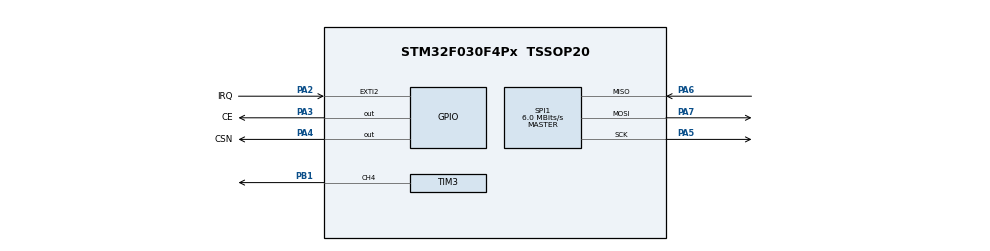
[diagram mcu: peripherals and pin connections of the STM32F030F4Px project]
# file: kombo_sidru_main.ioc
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Dma.Request0=TIM3_CH4/UP
Dma.TIM3_CH4/UP.0.Direction=DMA_MEMORY_TO_PERIPH
Dma.TIM3_CH4/UP.0.Instance=DMA1_Channel3
Dma.TIM3_CH4/UP.0.MemDataAlignment=DMA_MDATAALIGN_BYTE
Dma.TIM3_CH4/UP.0.MemInc=DMA_MINC_ENABLE
Dma.TIM3_CH4/UP.0.Mode=DMA_CIRCULAR
Dma.TIM3_CH4/UP.0.PeriphDataAlignment=DMA_PDATAALIGN_HALFWORD
Dma.TIM3_CH4/UP.0.PeriphInc=DMA_PINC_DISABLE
Dma.TIM3_CH4/UP.0.Priority=DMA_PRIORITY_VERY_HIGH
IWDG.Prescaler=IWDG_PRESCALER_32
Mcu.Family=STM32F0
Mcu.Name=STM32F030F4Px
Mcu.Package=TSSOP20
NVIC.DMA1_Channel2_3_IRQn=true\:0\:0\:false\:false\:true\:false\:true
NVIC.EXTI2_3_IRQn=true\:0\:0\:false\:false\:true\:true\:true
NVIC.TIM1_BRK_UP_TRG_COM_IRQn=true\:0\:0\:false\:false\:true\:true\:true
PA13.Mode=Serial_Wire
PA13.Signal=SYS_SWDIO
PA14.Mode=Serial_Wire
PA14.Signal=SYS_SWCLK
PA2.GPIO_Label=IRQ
PA2.Signal=GPXTI2
PA3.GPIO_Label=CE
PA3.Signal=GPIO_Output
PA4.GPIO_Label=CSN
PA4.Signal=GPIO_Output
PA5.Mode=Full_Duplex_Master
PA5.Signal=SPI1_SCK
PA6.Mode=Full_Duplex_Master
PA6.Signal=SPI1_MISO
PA7.Mode=Full_Duplex_Master
PA7.Signal=SPI1_MOSI
PB1.Signal=S_TIM3_CH4
PF0-OSC_IN.Mode=HSE-External-Oscillator
PF0-OSC_IN.Signal=RCC_OSC_IN
PF1-OSC_OUT.Mode=HSE-External-Oscillator
PF1-OSC_OUT.Signal=RCC_OSC_OUT
ProjectManager.HeapSize=0x200
ProjectManager.StackSize=0x400
ProjectManager.TargetToolchain=MDK-ARM V5.32
RCC.AHBFreq_Value=48000000
RCC.APB1Freq_Value=48000000
RCC.APB1TimFreq_Value=48000000
RCC.HCLKFreq_Value=48000000
RCC.PLLMUL=RCC_PLL_MUL6
RCC.PLLSourceVirtual=RCC_PLLSOURCE_HSE
RCC.SYSCLKFreq_VALUE=48000000
RCC.SYSCLKSource=RCC_SYSCLKSOURCE_PLLCLK
SH.S_TIM3_CH4.0=TIM3_CH4,PWM Generation4 CH4
SPI1.BaudRatePrescaler=SPI_BAUDRATEPRESCALER_8
SPI1.CalculateBaudRate=6.0 MBits/s
SPI1.DataSize=SPI_DATASIZE_8BIT
SPI1.Direction=SPI_DIRECTION_2LINES
SPI1.Mode=SPI_MODE_MASTER
SPI1.VirtualType=VM_MASTER
TIM1.Period=47999
TIM3.Channel-PWM\ Generation4\ CH4=TIM_CHANNEL_4
TIM3.Period=59
VP_IWDG_VS_IWDG.Mode=IWDG_Activate
VP_TIM1_VS_ClockSourceINT.Mode=Internal
board=custom

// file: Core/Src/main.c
/* USER CODE BEGIN Header */
/*
* main.c
* Основной файл программы контроллера светодиодов ws2812b
* СветоИзлучающего Декоративного Радиоуправляемого Устройства (СИДРУ)
* Проект "КомБО" (Открытые системы беспроводной коммуникации)
*
* Микроконтроллер:  stm32f030f4p6
* Приемопередатчик: nrf24l01+
*
* Подключение периферии:
* NRF24L01		STM32
* CE					PA3(9)
* CSN					PA4(10)
* SCK					PA5(11)
* MOSI				PA7(13)
* MISO				PA6(12)
* IRQ					PA2(8)
*
* WS2812			PB1(14)
*
*   Краткое описание работы устройства:
* При включении питания адресным светодиодам отправляется команда на зажжение
* белого цвета в течение 50 мс для проверки работоспособности.
* В процессе работы устройство отправляет запросы пульту управления и принимает
* от него команды включения/выключения, либо смены режима.
* При отсутствии команд устройство циклически отправляет команды на светодиоды
* в соответствии с текущим режимом.
*
* Алгоритм управления адресными светодиодами позаимствован с
* https://kawaii.computer/stm32/2020/06/07/ws2812b-stm32f0-circular-dma.html
* Для управления светодиодами используется DMA и ШИМ (таймер 3 канал 4)
*
* Примечания:
* - Проект сгенерирован в STM32CubeMX, структура проекта, основные настройки и инициализация периферии
*   созданы автоматически.
* - Для МК stm32f030f4p6 - без перемычки на BOOT (1) - старт в режиме загрузчика, можно подключиться
*   по USART и через SWD, с перемычкой - нормальная загрузка, можно подключиться только через SWD.
* - Алгоритм светового эффекта "радуга" позаимствован с репозитория:
* 	https://github.com/hubmartin/WS2812B_STM32F4/
*
*		Автор: Мелехин В.Н. (MelexinVN)
*/

/* USER CODE END Header */
#include "main.h"

/* USER CODE BEGIN PV */
//объявляем переменные и массивы
uint32_t millis = 0;				//милисекунды
uint32_t temp_millis = 0;		//вспомогательная переменная для организации пауз
uint32_t led_millis = 0;		//вспомогательная переменная для организации пауз
uint32_t pause_millis = 0;	//вспомогательная переменная для организации пауз
uint32_t led_pause = 10;		//значение паузы для светоэффектов

//внешние переменные и массивы
extern volatile uint8_t f_rx, f_tx;			//флаги приема и передачи радиомодуля
extern uint8_t tx_buf[TX_PLOAD_WIDTH];	//буфер передачи радиомодуля
extern uint8_t rx_buf[TX_PLOAD_WIDTH];	//буфер приема радиомодуля

extern uint32_t grb[LED_COUNT];					//массив состояния светодиодов
//Каждый элемент представляет собой значение GRB для соответствующего индекса светодиода,
//например, 0x00ffffff - полностью белый, 0x00ff0000 - полностью зеленый, и тд.

extern uint16_t grb_offset;							//смещение в массиве GRB при выводе светодиодов
extern uint8_t buffer[BUFFER_LEN];			//буфер

uint8_t led_mode = 0;										//режим световых эффектов
uint8_t save_mode = 1;									//сохраненное значение режима

uint8_t f_pause = 0;										//флаг включения паузы

/* USER CODE END PV */

void SystemClock_Config(void);
static void MX_GPIO_Init(void);
static void MX_DMA_Init(void);
static void MX_IWDG_Init(void);
static void MX_SPI1_Init(void);
static void MX_TIM1_Init(void);
static void MX_TIM3_Init(void);

/* USER CODE BEGIN 0 */

//Подпрограмма обработки прерываний от таймера 1
//происходит 1 раз в милисекунду
void TIM1_callback(void)
{
	//если флаг прерывания таймера поднят
	if(LL_TIM_IsActiveFlag_UPDATE(TIM1))
	{
		//считаем текущую милисекунду
		millis++;
		//опускаем флаг прерывания
		LL_TIM_ClearFlag_UPDATE(TIM1);
	}
}

//Процедура приема радиомодуля
void nrf24l01_receive(void)
{
	if(f_rx)	//если флаг приема поднят (флаг поднимается по внешнему прерыванию от радиомодуля)
	{
		if (rx_buf[0] == OUR_ADDR)	//если первый принятый байт совпадает с адресом устройства
		{
			if (rx_buf[1] == ON_OFF)	//если команда включения/выключения
			{
				if (led_mode == 0)			//если светодиоды отключены (нулевой режим)
				{
					led_mode = save_mode;	//включаем светодиоды в сохраненном режиме
				}
				else										//иначе
				{
					save_mode = led_mode;	//сохраняем значение текущего модуля
					led_mode = 0;					//выключаем светодиоды (устанавливаем нулевой режим)
				}
				f_pause = 1;						//поднимаем флаг паузы для предотвращения приема лишних команд
				pause_millis = millis;	//сохраняем текущее время
			}
			else if (rx_buf[1] == MODE_UP)	//если команда смены режима
			{
				if (led_mode)									//если устройство включено
				{
					if (led_mode < MODES_COUNT) led_mode++;	//если режим не крайний, присваиваем переменной следующее значение
					else led_mode = 1;											//если режим крайний, включаем первый режим
					f_pause = 1;														//поднимаем флаг паузы
					pause_millis = millis;									//сохраняем текущее время
				}
			}
		}
		f_rx = 0;										//опускаем флаг приема
	}
}
/* USER CODE END 0 */

int main(void)
{

  /* MCU Configuration--------------------------------------------------------*/

  /* Reset of all peripherals, Initializes the Flash interface and the Systick. */

  LL_APB1_GRP2_EnableClock(LL_APB1_GRP2_PERIPH_SYSCFG);
  LL_APB1_GRP1_EnableClock(LL_APB1_GRP1_PERIPH_PWR);

  /* System interrupt init*/
  /* SysTick_IRQn interrupt configuration */
  NVIC_SetPriority(SysTick_IRQn, 3);

  /* Configure the system clock */
  SystemClock_Config();

  /* Initialize all configured peripherals */
  MX_GPIO_Init();
  MX_DMA_Init();
  MX_IWDG_Init();
  MX_SPI1_Init();
  MX_TIM1_Init();
  MX_TIM3_Init();
  /* USER CODE BEGIN 2 */

	//Включаем SPI
	LL_SPI_Enable(SPI1);

	//Включаем внешнее прерывание
	LL_EXTI_EnableIT_0_31(LL_EXTI_LINE_2);
	LL_EXTI_EnableFallingTrig_0_31(LL_EXTI_LINE_2);

	//Конфигурируем таймер 1
	LL_TIM_EnableIT_UPDATE(TIM1);
	LL_TIM_EnableCounter(TIM1);

	//Конфигурируем таймер 3
	LL_TIM_CC_EnableChannel(TIM3, LL_TIM_CHANNEL_CH4);
	LL_TIM_EnableAllOutputs(TIM3);
	LL_TIM_EnableDMAReq_CC4(TIM3);
	LL_TIM_EnableCounter(TIM3);

	//Конфигурируем DMA
	LL_DMA_SetPeriphAddress(DMA1, LL_DMA_CHANNEL_3, (uint32_t)&TIM3->CCR4);
	LL_DMA_EnableIT_HT(DMA1, LL_DMA_CHANNEL_3);
  LL_DMA_EnableIT_TC(DMA1, LL_DMA_CHANNEL_3);

	//Инициализируем радиомодуль
	nrf24_init();

	//Моргаем светодиодами
	blink_leds();

  /* USER CODE END 2 */

  /* Infinite loop */
  /* USER CODE BEGIN WHILE */
  while (1)
  {
		//если прошло больше 50 мс
		if (millis-temp_millis > 50)
		{
			//отсылаем запрос
			tx_buf[0] = REMOTE_ADDR;	//заполняем поле адреса
			nrf24_send(tx_buf);				//отправляем посылку

			temp_millis = millis;			//сохраняем значение времени
		}
		//если режим 0 (выключено)
		if(led_mode == 0)
		{
			//заполняем буфер
			for(uint8_t i = 0; i < LED_COUNT; i++)
			{
				grb[i] = new_color(0, 0, 0);	//заполняем буфер нулевыми данными
			}
		}
		//далее в зависимости от режима заполняем массив соответсвующим образом
		else if(led_mode == 1)
		{
			//радуа
			rainbow(15);
		}
		//остальные режимы требуют некоторой паузы
		//если прошло времени больше паузы
		if (millis-led_millis > led_pause)
		{
			if (led_mode == 2)
			{
				//бегущий зеленый
				green_run();
			}

			else if (led_mode == 3)
			{
				//бегущий красный
				red_run();
			}

			else if (led_mode == 4)
			{
				//бегущий синий
				blue_run();
			}

			else if (led_mode == 5)
			{
				//бегущие красный и синий
				red_blue_run();
			}

			else if (led_mode == 6)
			{
				//бегущие красный и зеленый
				red_green_run();
			}

			else if (led_mode == 7)
			{
				//бегущие синий и зеленый
				blue_green_run();
			}

			if (led_mode == 8)
			{
				led_pause = 200;		//устанавливаем новое значение паузы
				//случайные цвета
				random_noise();
			}
			else led_pause = 10;	//возвращаем  значение паузы по умолчанию

			led_millis = millis;	//сохраняем значение времени
		}

		__disable_irq();				//отключаем все прерывания
		led_update();						//отправляем данные светодиодам
		__enable_irq();					//включаем все прерывания

		if (f_pause)						//если поднят флаг паузы
		{
			//если прошло достаточно времени
			if (millis-pause_millis > DELAY)
			{
				f_pause = 0;				//опускаем флаг паузы
			}
		}
		else										//если опущен флаг паузы
		{
			nrf24l01_receive();		//обрабатываем прием радиомодуля
		}

		//Далее алгоритм смены режимов ДЛЯ ДЕМОНСТРАЦИИ устройства
		//если решим не нулевой
		if (led_mode)
		{	//если прошло достаточно времени
			if (millis - pause_millis > DELAY*20)
			{
				if (led_mode < MODES_COUNT) led_mode++;	//если режим не крайний, присваиваем переменной следующее значение
				else led_mode = 1;											//если режим крайний, включаем первый режим
				pause_millis = millis;									//сохраняем значение времени
			}
		}

    /* USER CODE END WHILE */

    /* USER CODE BEGIN 3 */
		LL_IWDG_ReloadCounter(IWDG);//сбрасываем сторожевой таймер
  }
  /* USER CODE END 3 */
}

void SystemClock_Config(void)
{
  LL_FLASH_SetLatency(LL_FLASH_LATENCY_1);
  while(LL_FLASH_GetLatency() != LL_FLASH_LATENCY_1)
  {
  }
  LL_RCC_HSE_Enable();

   /* Wait till HSE is ready */
  while(LL_RCC_HSE_IsReady() != 1)
  {

  }
  LL_RCC_LSI_Enable();

   /* Wait till LSI is ready */
  while(LL_RCC_LSI_IsReady() != 1)
  {

  }
  LL_RCC_PLL_ConfigDomain_SYS(LL_RCC_PLLSOURCE_HSE_DIV_1, LL_RCC_PLL_MUL_6);
  LL_RCC_PLL_Enable();

   /* Wait till PLL is ready */
  while(LL_RCC_PLL_IsReady() != 1)
  {

  }
  LL_RCC_SetAHBPrescaler(LL_RCC_SYSCLK_DIV_1);
  LL_RCC_SetAPB1Prescaler(LL_RCC_APB1_DIV_1);
  LL_RCC_SetSysClkSource(LL_RCC_SYS_CLKSOURCE_PLL);

   /* Wait till System clock is ready */
  while(LL_RCC_GetSysClkSource() != LL_RCC_SYS_CLKSOURCE_STATUS_PLL)
  {

  }
  LL_Init1msTick(48000000);
  LL_SetSystemCoreClock(48000000);
  LL_RCC_SetUSARTClockSource(LL_RCC_USART1_CLKSOURCE_PCLK1);
}

static void MX_IWDG_Init(void)
{

  LL_IWDG_Enable(IWDG);
  LL_IWDG_EnableWriteAccess(IWDG);
  LL_IWDG_SetPrescaler(IWDG, LL_IWDG_PRESCALER_32);
  LL_IWDG_SetReloadCounter(IWDG, 4095);
  while (LL_IWDG_IsReady(IWDG) != 1)
  {
  }

  LL_IWDG_ReloadCounter(IWDG);

}

static void MX_SPI1_Init(void)
{

  LL_SPI_InitTypeDef SPI_InitStruct = {0};

  LL_GPIO_InitTypeDef GPIO_InitStruct = {0};

  /* Peripheral clock enable */
  LL_APB1_GRP2_EnableClock(LL_APB1_GRP2_PERIPH_SPI1);

  LL_AHB1_GRP1_EnableClock(LL_AHB1_GRP1_PERIPH_GPIOA);
  /**SPI1 GPIO Configuration
  PA5   ------> SPI1_SCK
  PA6   ------> SPI1_MISO
  PA7   ------> SPI1_MOSI
  */
  GPIO_InitStruct.Pin = LL_GPIO_PIN_5;
  GPIO_InitStruct.Mode = LL_GPIO_MODE_ALTERNATE;
  GPIO_InitStruct.Speed = LL_GPIO_SPEED_FREQ_HIGH;
  GPIO_InitStruct.OutputType = LL_GPIO_OUTPUT_PUSHPULL;
  GPIO_InitStruct.Pull = LL_GPIO_PULL_NO;
  GPIO_InitStruct.Alternate = LL_GPIO_AF_0;
  LL_GPIO_Init(GPIOA, &GPIO_InitStruct);

  GPIO_InitStruct.Pin = LL_GPIO_PIN_6;
  GPIO_InitStruct.Mode = LL_GPIO_MODE_ALTERNATE;
  GPIO_InitStruct.Speed = LL_GPIO_SPEED_FREQ_HIGH;
  GPIO_InitStruct.OutputType = LL_GPIO_OUTPUT_PUSHPULL;
  GPIO_InitStruct.Pull = LL_GPIO_PULL_NO;
  GPIO_InitStruct.Alternate = LL_GPIO_AF_0;
  LL_GPIO_Init(GPIOA, &GPIO_InitStruct);

  GPIO_InitStruct.Pin = LL_GPIO_PIN_7;
  GPIO_InitStruct.Mode = LL_GPIO_MODE_ALTERNATE;
  GPIO_InitStruct.Speed = LL_GPIO_SPEED_FREQ_HIGH;
  GPIO_InitStruct.OutputType = LL_GPIO_OUTPUT_PUSHPULL;
  GPIO_InitStruct.Pull = LL_GPIO_PULL_NO;
  GPIO_InitStruct.Alternate = LL_GPIO_AF_0;
  LL_GPIO_Init(GPIOA, &GPIO_InitStruct);

  /* SPI1 parameter configuration*/
  SPI_InitStruct.TransferDirection = LL_SPI_FULL_DUPLEX;
  SPI_InitStruct.Mode = LL_SPI_MODE_MASTER;
  SPI_InitStruct.DataWidth = LL_SPI_DATAWIDTH_8BIT;
  SPI_InitStruct.ClockPolarity = LL_SPI_POLARITY_LOW;
  SPI_InitStruct.ClockPhase = LL_SPI_PHASE_1EDGE;
  SPI_InitStruct.NSS = LL_SPI_NSS_SOFT;
  SPI_InitStruct.BaudRate = LL_SPI_BAUDRATEPRESCALER_DIV8;
  SPI_InitStruct.BitOrder = LL_SPI_MSB_FIRST;
  SPI_InitStruct.CRCCalculation = LL_SPI_CRCCALCULATION_DISABLE;
  SPI_InitStruct.CRCPoly = 7;
  LL_SPI_Init(SPI1, &SPI_InitStruct);
  LL_SPI_SetStandard(SPI1, LL_SPI_PROTOCOL_MOTOROLA);
  LL_SPI_EnableNSSPulseMgt(SPI1);

}

static void MX_TIM1_Init(void)
{

  LL_TIM_InitTypeDef TIM_InitStruct = {0};

  /* Peripheral clock enable */
  LL_APB1_GRP2_EnableClock(LL_APB1_GRP2_PERIPH_TIM1);

  /* TIM1 interrupt Init */
  NVIC_SetPriority(TIM1_BRK_UP_TRG_COM_IRQn, 0);
  NVIC_EnableIRQ(TIM1_BRK_UP_TRG_COM_IRQn);

  TIM_InitStruct.Prescaler = 0;
  TIM_InitStruct.CounterMode = LL_TIM_COUNTERMODE_UP;
  TIM_InitStruct.Autoreload = 47999;
  TIM_InitStruct.ClockDivision = LL_TIM_CLOCKDIVISION_DIV1;
  TIM_InitStruct.RepetitionCounter = 0;
  LL_TIM_Init(TIM1, &TIM_InitStruct);
  LL_TIM_DisableARRPreload(TIM1);
  LL_TIM_SetClockSource(TIM1, LL_TIM_CLOCKSOURCE_INTERNAL);
  LL_TIM_SetTriggerOutput(TIM1, LL_TIM_TRGO_RESET);
  LL_TIM_DisableMasterSlaveMode(TIM1);

}

static void MX_TIM3_Init(void)
{

  LL_TIM_InitTypeDef TIM_InitStruct = {0};
  LL_TIM_OC_InitTypeDef TIM_OC_InitStruct = {0};

  LL_GPIO_InitTypeDef GPIO_InitStruct = {0};

  /* Peripheral clock enable */
  LL_APB1_GRP1_EnableClock(LL_APB1_GRP1_PERIPH_TIM3);

  /* TIM3 DMA Init */

  /* TIM3_CH4_UP Init */
  LL_DMA_SetDataTransferDirection(DMA1, LL_DMA_CHANNEL_3, LL_DMA_DIRECTION_MEMORY_TO_PERIPH);

  LL_DMA_SetChannelPriorityLevel(DMA1, LL_DMA_CHANNEL_3, LL_DMA_PRIORITY_VERYHIGH);

  LL_DMA_SetMode(DMA1, LL_DMA_CHANNEL_3, LL_DMA_MODE_CIRCULAR);

  LL_DMA_SetPeriphIncMode(DMA1, LL_DMA_CHANNEL_3, LL_DMA_PERIPH_NOINCREMENT);

  LL_DMA_SetMemoryIncMode(DMA1, LL_DMA_CHANNEL_3, LL_DMA_MEMORY_INCREMENT);

  LL_DMA_SetPeriphSize(DMA1, LL_DMA_CHANNEL_3, LL_DMA_PDATAALIGN_HALFWORD);

  LL_DMA_SetMemorySize(DMA1, LL_DMA_CHANNEL_3, LL_DMA_MDATAALIGN_BYTE);

  TIM_InitStruct.Prescaler = 0;
  TIM_InitStruct.CounterMode = LL_TIM_COUNTERMODE_UP;
  TIM_InitStruct.Autoreload = 59;
  TIM_InitStruct.ClockDivision = LL_TIM_CLOCKDIVISION_DIV1;
  LL_TIM_Init(TIM3, &TIM_InitStruct);
  LL_TIM_DisableARRPreload(TIM3);
  LL_TIM_OC_EnablePreload(TIM3, LL_TIM_CHANNEL_CH4);
  TIM_OC_InitStruct.OCMode = LL_TIM_OCMODE_PWM1;
  TIM_OC_InitStruct.OCState = LL_TIM_OCSTATE_DISABLE;
  TIM_OC_InitStruct.OCNState = LL_TIM_OCSTATE_DISABLE;
  TIM_OC_InitStruct.CompareValue = 0;
  TIM_OC_InitStruct.OCPolarity = LL_TIM_OCPOLARITY_HIGH;
  LL_TIM_OC_Init(TIM3, LL_TIM_CHANNEL_CH4, &TIM_OC_InitStruct);
  LL_TIM_OC_DisableFast(TIM3, LL_TIM_CHANNEL_CH4);
  LL_TIM_SetTriggerOutput(TIM3, LL_TIM_TRGO_RESET);
  LL_TIM_DisableMasterSlaveMode(TIM3);
  LL_AHB1_GRP1_EnableClock(LL_AHB1_GRP1_PERIPH_GPIOB);
  /**TIM3 GPIO Configuration
  PB1   ------> TIM3_CH4
  */
  GPIO_InitStruct.Pin = LL_GPIO_PIN_1;
  GPIO_InitStruct.Mode = LL_GPIO_MODE_ALTERNATE;
  GPIO_InitStruct.Speed = LL_GPIO_SPEED_FREQ_LOW;
  GPIO_InitStruct.OutputType = LL_GPIO_OUTPUT_PUSHPULL;
  GPIO_InitStruct.Pull = LL_GPIO_PULL_NO;
  GPIO_InitStruct.Alternate = LL_GPIO_AF_1;
  LL_GPIO_Init(GPIOB, &GPIO_InitStruct);

}

static void MX_DMA_Init(void)
{

  /* Init with LL driver */
  /* DMA controller clock enable */
  LL_AHB1_GRP1_EnableClock(LL_AHB1_GRP1_PERIPH_DMA1);

  /* DMA interrupt init */
  /* DMA1_Channel2_3_IRQn interrupt configuration */
  NVIC_SetPriority(DMA1_Channel2_3_IRQn, 0);
  NVIC_EnableIRQ(DMA1_Channel2_3_IRQn);

}

static void MX_GPIO_Init(void)
{
  LL_EXTI_InitTypeDef EXTI_InitStruct = {0};
  LL_GPIO_InitTypeDef GPIO_InitStruct = {0};

  /* GPIO Ports Clock Enable */
  LL_AHB1_GRP1_EnableClock(LL_AHB1_GRP1_PERIPH_GPIOF);
  LL_AHB1_GRP1_EnableClock(LL_AHB1_GRP1_PERIPH_GPIOA);
  LL_AHB1_GRP1_EnableClock(LL_AHB1_GRP1_PERIPH_GPIOB);

  /**/
  LL_GPIO_ResetOutputPin(CE_GPIO_Port, CE_Pin);

  /**/
  LL_GPIO_ResetOutputPin(CSN_GPIO_Port, CSN_Pin);

  /**/
  LL_SYSCFG_SetEXTISource(LL_SYSCFG_EXTI_PORTA, LL_SYSCFG_EXTI_LINE2);

  /**/
  LL_GPIO_SetPinPull(IRQ_GPIO_Port, IRQ_Pin, LL_GPIO_PULL_NO);

  /**/
  LL_GPIO_SetPinMode(IRQ_GPIO_Port, IRQ_Pin, LL_GPIO_MODE_INPUT);

  /**/
  EXTI_InitStruct.Line_0_31 = LL_EXTI_LINE_2;
  EXTI_InitStruct.LineCommand = ENABLE;
  EXTI_InitStruct.Mode = LL_EXTI_MODE_IT;
  EXTI_InitStruct.Trigger = LL_EXTI_TRIGGER_RISING;
  LL_EXTI_Init(&EXTI_InitStruct);

  /**/
  GPIO_InitStruct.Pin = CE_Pin;
  GPIO_InitStruct.Mode = LL_GPIO_MODE_OUTPUT;
  GPIO_InitStruct.Speed = LL_GPIO_SPEED_FREQ_LOW;
  GPIO_InitStruct.OutputType = LL_GPIO_OUTPUT_PUSHPULL;
  GPIO_InitStruct.Pull = LL_GPIO_PULL_NO;
  LL_GPIO_Init(CE_GPIO_Port, &GPIO_InitStruct);

  /**/
  GPIO_InitStruct.Pin = CSN_Pin;
  GPIO_InitStruct.Mode = LL_GPIO_MODE_OUTPUT;
  GPIO_InitStruct.Speed = LL_GPIO_SPEED_FREQ_LOW;
  GPIO_InitStruct.OutputType = LL_GPIO_OUTPUT_PUSHPULL;
  GPIO_InitStruct.Pull = LL_GPIO_PULL_NO;
  LL_GPIO_Init(CSN_GPIO_Port, &GPIO_InitStruct);

  /* EXTI interrupt init*/
  NVIC_SetPriority(EXTI2_3_IRQn, 0);
  NVIC_EnableIRQ(EXTI2_3_IRQn);

}

void Error_Handler(void)
{
  __disable_irq();
  while (1)
  {
  }
}
